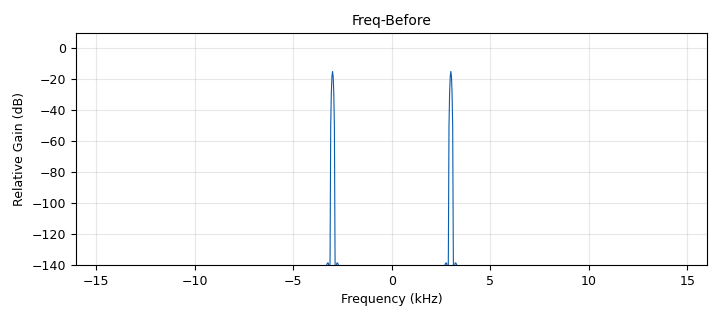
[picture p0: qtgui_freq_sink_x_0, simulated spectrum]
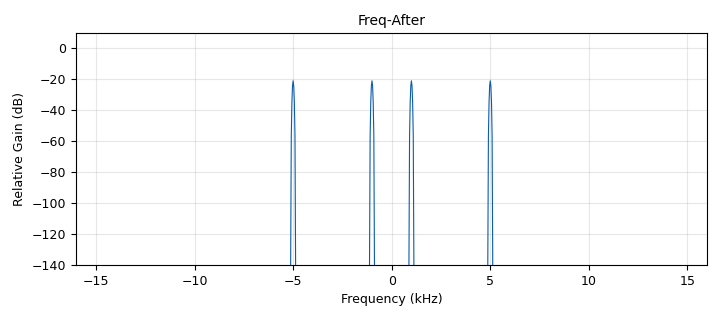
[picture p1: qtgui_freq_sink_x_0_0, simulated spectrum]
options:
  parameters:
    generate_options: qt_gui
    id: IQ_Mixer_Frequency
    output_language: python
    title: Not titled yet
  states: {}

blocks:
- name: input_freq
  id: variable_qtgui_range
  parameters:
    start: '500'
    step: '100'
    stop: '8000'
    value: '3000'
  states: {}
- name: lo_freq
  id: variable_qtgui_range
  parameters:
    start: '-8000'
    step: '100'
    stop: '8000'
    value: '2000'
  states: {}
- name: samp_rate
  id: variable
  parameters:
    value: '32000'
  states: {}
- name: analog_sig_source_x_0
  id: analog_sig_source_x
  parameters:
    amp: '1'
    freq: input_freq
    offset: '0'
    phase: '0'
    samp_rate: samp_rate
    type: float
    waveform: analog.GR_SIN_WAVE
  states: {}
- name: analog_sig_source_x_0_0
  id: analog_sig_source_x
  parameters:
    amp: '1'
    freq: lo_freq
    offset: '0'
    phase: '0'
    samp_rate: samp_rate
    type: float
    waveform: analog.GR_COS_WAVE
  states: {}
- name: blocks_multiply_xx_0
  id: blocks_multiply_xx
  parameters:
    type: float
  states: {}
- name: qtgui_freq_sink_x_0
  id: qtgui_freq_sink_x
  parameters:
    bw: samp_rate
    fc: '0'
    fftsize: '1024'
    name: '"Freq-Before"'
    type: float
  states: {}
- name: qtgui_freq_sink_x_0_0
  id: qtgui_freq_sink_x
  parameters:
    bw: samp_rate
    fc: '0'
    fftsize: '1024'
    name: '"Freq-After"'
    type: float
  states: {}

connections:
- [analog_sig_source_x_0, '0', blocks_multiply_xx_0, '0']
- [analog_sig_source_x_0, '0', qtgui_freq_sink_x_0, '0']
- [analog_sig_source_x_0_0, '0', blocks_multiply_xx_0, '1']
- [blocks_multiply_xx_0, '0', qtgui_freq_sink_x_0_0, '0']

metadata:
  file_format: 1
  grc_version: 3.10.12.0
